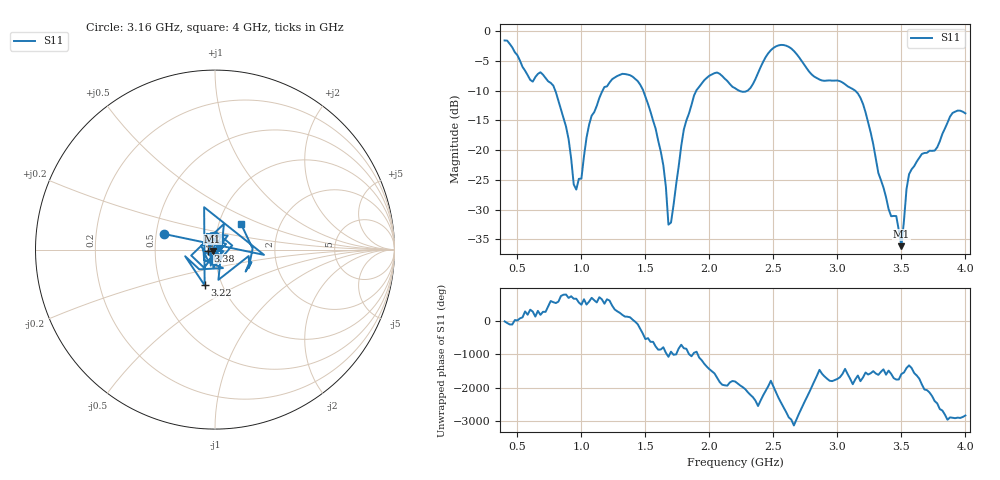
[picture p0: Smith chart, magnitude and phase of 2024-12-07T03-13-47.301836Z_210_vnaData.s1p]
!Created with skrf (http://scikit-rf.org).
# Hz S RI R 50.0
!freq ReS11 ImS11
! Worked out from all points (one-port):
!   181 points, 400 MHz to 4 GHz, reference 50 ohm
!   lowest |S11| = -36.1 dB at 3.5 GHz (marker M1), VSWR 1.03, Z = 48.7 - j0.749 ohm
!   |S11| at or under -10 dB: 795.5 MHz to 1.166 GHz (370.5 MHz wide, 37.8 % of centre); 1.483 GHz to 1.898 GHz (415.9 MHz wide, 24.6 % of centre); 3.137 GHz to end of sweep (the widest 3 of 4)
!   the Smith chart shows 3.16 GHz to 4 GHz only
!   S11 on the Smith chart (normalised r, x): 3.16 GHz: 0.55, +0.11; 3.22 GHz: 0.83, -0.34; 3.38 GHz: 0.92, -0.01; 4 GHz: 1.28, +0.38
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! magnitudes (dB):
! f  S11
! 400 MHz  -1.6
! 600 MHz  -8.2
! 780 MHz  -9.2
! 860 MHz  -14.6
! 960 MHz  -26.6
! 1 GHz  -24.8
! 1.08 GHz  -14.2
! 1.3 GHz  -7.4
! 1.52 GHz  -12.2
! 1.64 GHz  -22.6
! 1.68 GHz  -32.5
! 1.76 GHz  -22.7
! 1.8 GHz  -16.6
! 1.9 GHz  -9.9
! 2.06 GHz  -7.0
! 2.2 GHz  -9.6
! 2.32 GHz  -9.6
! 2.5 GHz  -2.9
! 2.66 GHz  -3.4
! 3.1 GHz  -9.5
! 3.16 GHz  -10.5
! 3.22 GHz  -13.7
! 3.38 GHz  -27.9
! 3.46 GHz  -31.1
! 3.5 GHz  -36.1
! 3.56 GHz  -24.0
! 3.9 GHz  -13.8
! 4 GHz  -13.8
